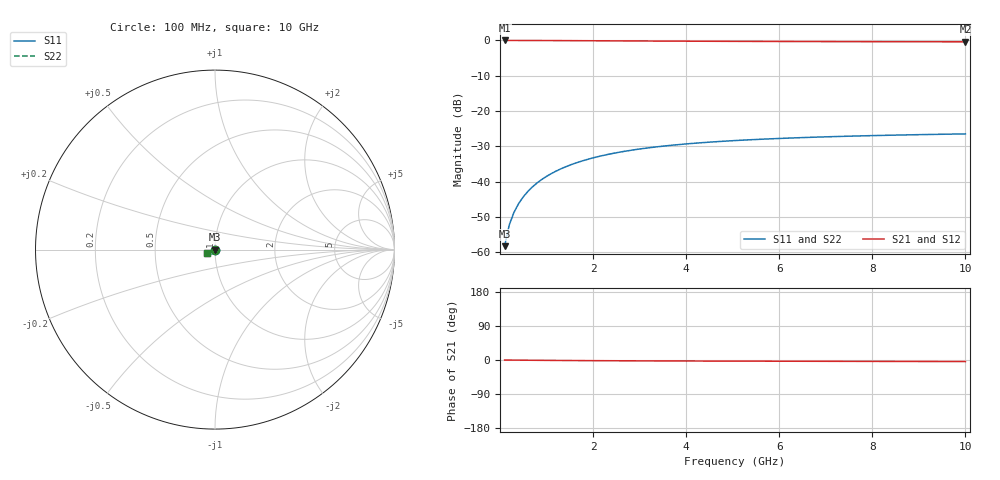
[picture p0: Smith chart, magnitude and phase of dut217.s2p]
! Touchstone file exported from HFSS 2024.1.0
!  File:  C:/UserFiles/LocalFiles/RDL_TSV_Batchsim/temp_TSV1_217_1779387381.aedt
!  Generated:  02:25:02 AM May 22, 2026
!  Design:  TSV1
!  Project:  temp_TSV1_217_1779387381
!  Setup:  Setup1
!  Solution:  Sweep
! Variables:
!  dtsv = 12.35um
!  hbump = 3um
!  htsv = 61.76um
!  lrdl = 252.1521522um
!  p = 40
!  p1 = 41.48um
!  t = 500um
!  trdl = 3um
!  wrdl = 24.89489489um
# GHz S MA R 50.000000
! Terminal data exported
! Port[1] = TSV22_T1
! Port[2] = TSV22_T2
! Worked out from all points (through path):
!   100 points, 100 MHz to 10 GHz, reference 50 ohm
!   highest |S21| = 0.00 dB at 100 MHz (marker M1); lowest = -0.4 dB at 10 GHz (marker M2)
!   lowest |S11| = -58.3 dB at 100 MHz (marker M3), VSWR 1.00, Z = 50 - j0.121 ohm
!   |S11| at or under -10 dB: start of sweep to end of sweep
!   |S22| runs from -58.3 to -26.5 dB; largest |S21 - S12| = 4.2e-15
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0.1  0.001214 -87.5  0.9999 -0.1  0.9999 -0.1  0.001214 -87.5
! Gamma 0 0 0 0
! Port Impedance 50 0 50 0
0.2  0.002429 -90.7  0.9998 -0.2  0.9998 -0.2  0.002429 -90.7
0.3  0.003646 -92.7  0.9996 -0.3  0.9996 -0.3  0.003646 -92.7
0.4  0.004858 -94.5  0.9994 -0.4  0.9994 -0.4  0.004858 -94.5
0.5  0.00606 -96.2  0.9991 -0.5  0.9991 -0.5  0.00606 -96.2
0.6  0.00725 -97.8  0.9988 -0.6  0.9988 -0.6  0.00725 -97.8
0.7  0.008424 -99.3  0.9984 -0.7  0.9984 -0.7  0.008424 -99.3
0.8  0.009582 -100.8  0.9979 -0.8  0.9979 -0.8  0.009582 -100.8
0.9  0.01072 -102.2  0.9974 -0.9  0.9974 -0.9  0.01072 -102.2
1.1  0.01293 -105.0  0.9963 -1.1  0.9963 -1.1  0.01293 -105.0
1.4  0.01608 -109.0  0.9944 -1.3  0.9944 -1.3  0.01608 -109.0
1.6  0.01804 -111.5  0.9931 -1.5  0.9931 -1.5  0.01804 -111.5
1.8  0.01991 -113.9  0.9916 -1.6  0.9916 -1.6  0.01991 -113.9
2.1  0.0225 -117.3  0.9894 -1.8  0.9894 -1.8  0.0225 -117.3
2.5  0.02559 -121.4  0.9865 -2.0  0.9865 -2.0  0.02559 -121.4
2.9  0.0283 -125.1  0.9836 -2.2  0.9836 -2.2  0.0283 -125.1
3.4  0.03121 -129.2  0.9802 -2.4  0.9802 -2.4  0.03121 -129.2
4.2  0.03499 -134.7  0.9754 -2.7  0.9754 -2.7  0.03499 -134.7
5.1  0.03826 -139.6  0.9708 -3.0  0.9708 -3.0  0.03826 -139.6
6.7  0.04242 -146.3  0.9646 -3.4  0.9646 -3.4  0.04242 -146.3
8.4  0.04539 -151.5  0.9599 -3.8  0.9599 -3.8  0.04539 -151.5
10  0.04736 -155.3  0.9568 -4.1  0.9568 -4.1  0.04736 -155.3
